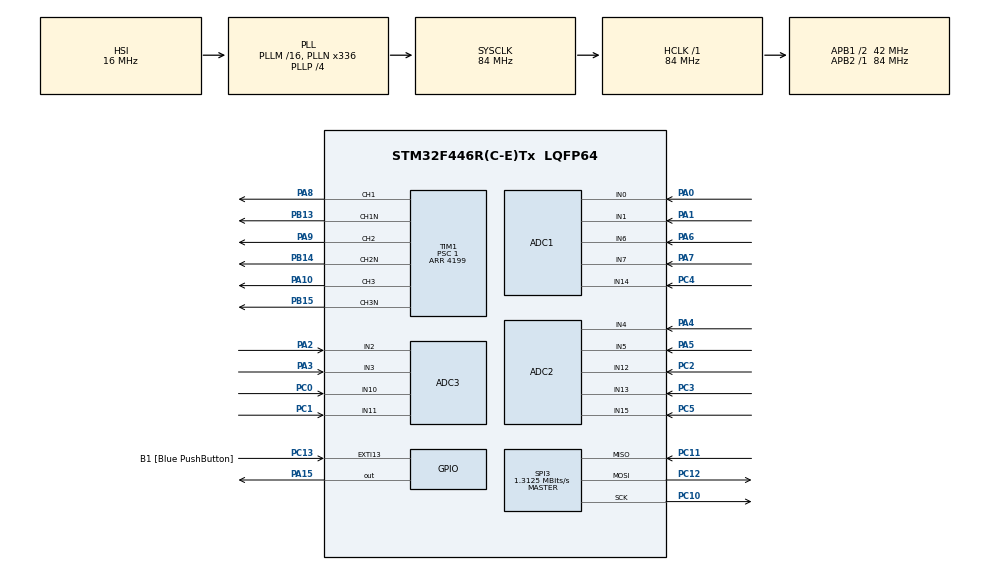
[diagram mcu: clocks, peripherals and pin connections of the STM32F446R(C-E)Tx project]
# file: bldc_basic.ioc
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ADC1.Channel-0\#ChannelRegularConversion=ADC_CHANNEL_0
ADC1.Channel-1\#ChannelRegularConversion=ADC_CHANNEL_1
ADC1.Channel-2\#ChannelRegularConversion=ADC_CHANNEL_6
ADC1.Channel-3\#ChannelRegularConversion=ADC_CHANNEL_7
ADC1.Channel-4\#ChannelRegularConversion=ADC_CHANNEL_14
ADC1.ContinuousConvMode=ENABLE
ADC1.DMAContinuousRequests=ENABLE
ADC1.EOCSelection=ADC_EOC_SEQ_CONV
ADC1.EnableAnalogWatchDog=false
ADC1.ExternalTrigConv=ADC_EXTERNALTRIGCONV_T1_CC1
ADC1.Mode=ADC_TRIPLEMODE_REGSIMULT
ADC1.NbrOfConversion=5
ADC1.NbrOfConversionFlag=1
ADC1.Rank-0\#ChannelRegularConversion=1
ADC1.Rank-1\#ChannelRegularConversion=2
ADC1.Rank-2\#ChannelRegularConversion=3
ADC1.Rank-3\#ChannelRegularConversion=4
ADC1.Rank-4\#ChannelRegularConversion=5
ADC1.SamplingTime-0\#ChannelRegularConversion=ADC_SAMPLETIME_3CYCLES
ADC1.SamplingTime-1\#ChannelRegularConversion=ADC_SAMPLETIME_3CYCLES
ADC1.SamplingTime-2\#ChannelRegularConversion=ADC_SAMPLETIME_3CYCLES
ADC1.SamplingTime-3\#ChannelRegularConversion=ADC_SAMPLETIME_3CYCLES
ADC1.SamplingTime-4\#ChannelRegularConversion=ADC_SAMPLETIME_3CYCLES
ADC1.master=1
ADC2.Channel-3\#ChannelRegularConversion=ADC_CHANNEL_12
ADC2.Channel-4\#ChannelRegularConversion=ADC_CHANNEL_13
ADC2.Channel-5\#ChannelRegularConversion=ADC_CHANNEL_4
ADC2.Channel-6\#ChannelRegularConversion=ADC_CHANNEL_5
ADC2.Channel-7\#ChannelRegularConversion=ADC_CHANNEL_15
ADC2.DMAAccessMode=ADC_DMAACCESSMODE_1
ADC2.EOCSelection=ADC_EOC_SEQ_CONV
ADC2.Mode=ADC_TRIPLEMODE_REGSIMULT
ADC2.NbrOfConversion=5
ADC2.NbrOfConversionFlag=1
ADC2.Rank-3\#ChannelRegularConversion=1
ADC2.Rank-4\#ChannelRegularConversion=2
ADC2.Rank-5\#ChannelRegularConversion=3
ADC2.Rank-6\#ChannelRegularConversion=4
ADC2.Rank-7\#ChannelRegularConversion=5
ADC2.SamplingTime-3\#ChannelRegularConversion=ADC_SAMPLETIME_3CYCLES
ADC2.SamplingTime-4\#ChannelRegularConversion=ADC_SAMPLETIME_3CYCLES
ADC2.SamplingTime-5\#ChannelRegularConversion=ADC_SAMPLETIME_3CYCLES
ADC2.SamplingTime-6\#ChannelRegularConversion=ADC_SAMPLETIME_3CYCLES
ADC2.SamplingTime-7\#ChannelRegularConversion=ADC_SAMPLETIME_3CYCLES
ADC3.Channel-0\#ChannelRegularConversion=ADC_CHANNEL_10
ADC3.Channel-1\#ChannelRegularConversion=ADC_CHANNEL_11
ADC3.Channel-2\#ChannelRegularConversion=ADC_CHANNEL_2
ADC3.Channel-3\#ChannelRegularConversion=ADC_CHANNEL_3
ADC3.Channel-4\#ChannelRegularConversion=ADC_CHANNEL_10
ADC3.EOCSelection=ADC_EOC_SEQ_CONV
ADC3.Mode=ADC_TRIPLEMODE_REGSIMULT
ADC3.NbrOfConversion=5
ADC3.NbrOfConversionFlag=1
ADC3.Rank-0\#ChannelRegularConversion=1
ADC3.Rank-1\#ChannelRegularConversion=2
ADC3.Rank-2\#ChannelRegularConversion=3
ADC3.Rank-3\#ChannelRegularConversion=4
ADC3.Rank-4\#ChannelRegularConversion=5
ADC3.SamplingTime-0\#ChannelRegularConversion=ADC_SAMPLETIME_3CYCLES
ADC3.SamplingTime-1\#ChannelRegularConversion=ADC_SAMPLETIME_3CYCLES
ADC3.SamplingTime-2\#ChannelRegularConversion=ADC_SAMPLETIME_3CYCLES
ADC3.SamplingTime-3\#ChannelRegularConversion=ADC_SAMPLETIME_3CYCLES
ADC3.SamplingTime-4\#ChannelRegularConversion=ADC_SAMPLETIME_3CYCLES
Dma.ADC1.0.Direction=DMA_PERIPH_TO_MEMORY
Dma.ADC1.0.FIFOMode=DMA_FIFOMODE_DISABLE
Dma.ADC1.0.Instance=DMA2_Stream0
Dma.ADC1.0.MemDataAlignment=DMA_MDATAALIGN_WORD
Dma.ADC1.0.MemInc=DMA_MINC_ENABLE
Dma.ADC1.0.Mode=DMA_CIRCULAR
Dma.ADC1.0.PeriphDataAlignment=DMA_PDATAALIGN_WORD
Dma.ADC1.0.PeriphInc=DMA_PINC_DISABLE
Dma.ADC1.0.Priority=DMA_PRIORITY_LOW
Dma.Request0=ADC1
Mcu.Family=STM32F4
Mcu.Name=STM32F446R(C-E)Tx
Mcu.Package=LQFP64
NVIC.DMA2_Stream0_IRQn=true\:0\:0\:false\:false\:true\:false\:true\:true
NVIC.PriorityGroup=NVIC_PRIORITYGROUP_0
PA0-WKUP.Signal=ADCx_IN0
PA1.Signal=ADCx_IN1
PA10.Signal=S_TIM1_CH3
PA13.GPIO_Label=TMS
PA13.Mode=Serial_Wire
PA13.Signal=SYS_JTMS-SWDIO
PA14.GPIO_Label=TCK
PA14.Mode=Serial_Wire
PA14.Signal=SYS_JTCK-SWCLK
PA15.Signal=GPIO_Output
PA2.Signal=ADCx_IN2
PA3.Signal=ADCx_IN3
PA4.Signal=ADCx_IN4
PA5.Signal=ADCx_IN5
PA6.Signal=ADCx_IN6
PA7.Signal=ADCx_IN7
PA8.Signal=S_TIM1_CH1
PA9.Signal=S_TIM1_CH2
PB13.Mode=PWM Generation1 CH1 CH1N
PB13.Signal=TIM1_CH1N
PB14.Mode=PWM Generation2 CH2 CH2N
PB14.Signal=TIM1_CH2N
PB15.Mode=PWM Generation3 CH3 CH3N
PB15.Signal=TIM1_CH3N
PB3.GPIO_Label=SWO
PB3.Signal=SYS_JTDO-SWO
PC0.Signal=ADCx_IN10
PC1.Signal=ADCx_IN11
PC10.Mode=Full_Duplex_Master
PC10.Signal=SPI3_SCK
PC11.Mode=Full_Duplex_Master
PC11.Signal=SPI3_MISO
PC12.Mode=Full_Duplex_Master
PC12.Signal=SPI3_MOSI
PC13.GPIO_Label=B1 [Blue PushButton]
PC13.GPIO_ModeDefaultEXTI=GPIO_MODE_IT_FALLING
PC13.Signal=GPXTI13
PC14-OSC32_IN.Mode=LSE-External-Oscillator
PC14-OSC32_IN.Signal=RCC_OSC32_IN
PC15-OSC32_OUT.Mode=LSE-External-Oscillator
PC15-OSC32_OUT.Signal=RCC_OSC32_OUT
PC2.Signal=ADCx_IN12
PC3.Signal=ADCx_IN13
PC4.Signal=ADCx_IN14
PC5.Signal=ADCx_IN15
PH0-OSC_IN.Mode=HSE-External-Oscillator
PH0-OSC_IN.Signal=RCC_OSC_IN
PH1-OSC_OUT.Mode=HSE-External-Oscillator
PH1-OSC_OUT.Signal=RCC_OSC_OUT
ProjectManager.HeapSize=0x200
ProjectManager.StackSize=0x400
ProjectManager.TargetToolchain=STM32CubeIDE
RCC.48MHZClocksFreq_Value=84000000
RCC.AHBFreq_Value=84000000
RCC.APB1CLKDivider=RCC_HCLK_DIV2
RCC.APB1Freq_Value=42000000
RCC.APB1TimFreq_Value=84000000
RCC.APB2Freq_Value=84000000
RCC.APB2TimFreq_Value=84000000
RCC.CortexFreq_Value=84000000
RCC.FLatency-AdvancedSettings=FLASH_LATENCY_2
RCC.HCLKFreq_Value=84000000
RCC.HSE_VALUE=8000000
RCC.HSI_VALUE=16000000
RCC.PLLN=336
RCC.PLLP=RCC_PLLP_DIV4
RCC.SYSCLKFreq_VALUE=84000000
RCC.SYSCLKSource=RCC_SYSCLKSOURCE_PLLCLK
RCC.USBFreq_Value=168000000
RCC.VCOOutputFreq_Value=336000000
SH.ADCx_IN0.0=ADC1_IN0,IN0
SH.ADCx_IN1.0=ADC1_IN1,IN1
SH.ADCx_IN10.0=ADC3_IN10,IN10
SH.ADCx_IN11.0=ADC3_IN11,IN11
SH.ADCx_IN12.0=ADC2_IN12,IN12
SH.ADCx_IN13.0=ADC2_IN13,IN13
SH.ADCx_IN14.0=ADC1_IN14,IN14
SH.ADCx_IN15.0=ADC2_IN15,IN15
SH.ADCx_IN2.0=ADC3_IN2,IN2
SH.ADCx_IN3.0=ADC3_IN3,IN3
SH.ADCx_IN4.0=ADC2_IN4,IN4
SH.ADCx_IN5.0=ADC2_IN5,IN5
SH.ADCx_IN6.0=ADC1_IN6,IN6
SH.ADCx_IN7.0=ADC1_IN7,IN7
SH.S_TIM1_CH1.0=TIM1_CH1,PWM Generation1 CH1 CH1N
SH.S_TIM1_CH2.0=TIM1_CH2,PWM Generation2 CH2 CH2N
SH.S_TIM1_CH3.0=TIM1_CH3,PWM Generation3 CH3 CH3N
SPI3.BaudRatePrescaler=SPI_BAUDRATEPRESCALER_32
SPI3.CalculateBaudRate=1.3125 MBits/s
SPI3.DataSize=SPI_DATASIZE_16BIT
SPI3.Direction=SPI_DIRECTION_2LINES
SPI3.Mode=SPI_MODE_MASTER
SPI3.VirtualType=VM_MASTER
TIM1.AutoReloadPreload=TIM_AUTORELOAD_PRELOAD_ENABLE
TIM1.AutomaticOutput=TIM_AUTOMATICOUTPUT_DISABLE
TIM1.Channel-PWM\ Generation1\ CH1\ CH1N=TIM_CHANNEL_1
TIM1.Channel-PWM\ Generation2\ CH2\ CH2N=TIM_CHANNEL_2
TIM1.Channel-PWM\ Generation3\ CH3\ CH3N=TIM_CHANNEL_3
TIM1.CounterMode=TIM_COUNTERMODE_CENTERALIGNED1
TIM1.DeadTime=10
TIM1.OCNPolarity_1=TIM_OCNPOLARITY_HIGH
TIM1.OCNPolarity_2=TIM_OCNPOLARITY_HIGH
TIM1.OCNPolarity_3=TIM_OCNPOLARITY_HIGH
TIM1.Period=4199
TIM1.Prescaler=1
TIM1.Pulse-PWM\ Generation1\ CH1\ CH1N=2100
TIM1.Pulse-PWM\ Generation2\ CH2\ CH2N=3150
TIM1.Pulse-PWM\ Generation3\ CH3\ CH3N=4100
TIM1.TIM_MasterOutputTrigger=TIM_TRGO_UPDATE
TIM1.TIM_MasterSlaveMode=TIM_MASTERSLAVEMODE_ENABLE
VP_TIM1_VS_ClockSourceINT.Mode=Internal
board=NUCLEO-F446RE

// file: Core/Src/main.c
/* USER CODE BEGIN Header */
/**
  ******************************************************************************
  * @file           : main.c
  * @brief          : Main program body
  ******************************************************************************
  * @attention
  *
  * Copyright (c) 2026 STMicroelectronics.
  * All rights reserved.
  *
  * This software is licensed under terms that can be found in the LICENSE file
  * in the root directory of this software component.
  * If no LICENSE file comes with this software, it is provided AS-IS.
  *
  ******************************************************************************
  */
/* USER CODE END Header */
#include "main.h"

/* USER CODE BEGIN Includes */
#include <stdio.h>
#include <math.h>
/* USER CODE END Includes */

/* USER CODE BEGIN PD */
#define PUTCHAR_PROTOTYPE int __io_putchar(int ch)
/* USER CODE END PD */

ADC_HandleTypeDef hadc1;
ADC_HandleTypeDef hadc2;
ADC_HandleTypeDef hadc3;
DMA_HandleTypeDef hdma_adc1;

SPI_HandleTypeDef hspi3;

TIM_HandleTypeDef htim1;

/* USER CODE BEGIN PV */
uint32_t adc_dma_buf[15];

uint16_t angle;

int i = 0;
int t = 0;

float pi = 3.14159265;
float ampl = 0;
float drive_freq = 0;
float dutyA = 0.5;
float dutyB = 0.5;
float dutyC = 0.5;
/* USER CODE END PV */

void SystemClock_Config(void);
static void MX_GPIO_Init(void);
static void MX_DMA_Init(void);
static void MX_ADC1_Init(void);
static void MX_ADC2_Init(void);
static void MX_ADC3_Init(void);
static void MX_TIM1_Init(void);
static void MX_SPI3_Init(void);

int main(void)
{

  /* MCU Configuration--------------------------------------------------------*/

  /* Reset of all peripherals, Initializes the Flash interface and the Systick. */
  HAL_Init();

  /* Configure the system clock */
  SystemClock_Config();

  /* Initialize all configured peripherals */
  MX_GPIO_Init();
  MX_DMA_Init();
  MX_ADC1_Init();
  MX_ADC2_Init();
  MX_ADC3_Init();
  MX_TIM1_Init();
  MX_SPI3_Init();
  /* USER CODE BEGIN 2 */
  HAL_TIM_PWM_Start(&htim1, TIM_CHANNEL_1);
  HAL_TIMEx_PWMN_Start(&htim1, TIM_CHANNEL_1);
  HAL_TIM_PWM_Start(&htim1, TIM_CHANNEL_2);
  HAL_TIMEx_PWMN_Start(&htim1, TIM_CHANNEL_2);
  HAL_TIM_PWM_Start(&htim1, TIM_CHANNEL_3);
  HAL_TIMEx_PWMN_Start(&htim1, TIM_CHANNEL_3);

  HAL_ADC_Start(&hadc2);
  HAL_ADC_Start(&hadc3);

  i = 1;
  HAL_ADCEx_MultiModeStart_DMA(&hadc1, adc_dma_buf, 15);
  i = 2;
  int pwm_period = TIM1->ARR;

  const uint16_t encoder_reg = 0x3FFF;

  /* USER CODE END 2 */

  /* Infinite loop */
  /* USER CODE BEGIN WHILE */
  while (1)
  {
	i++;
	t = HAL_GetTick();

	// control amplitude with pot
	ampl = 0.5 * ((float) adc_dma_buf[12] - 210) / 4095.0;
	drive_freq = 50;

	dutyA = 0.5 + ampl*cosf(drive_freq*t*0.01 - 0*pi/3.0);
	dutyB = 0.5 + ampl*cosf(drive_freq*t*0.01 - 1*pi/3.0);
	dutyC = 0.5 + ampl*cosf(drive_freq*t*0.01 - 2*pi/3.0);

    TIM1->CCR1 = (int) (pwm_period * dutyA);
    TIM1->CCR2 = (int) (pwm_period * dutyB);
    TIM1->CCR3 = (int) (pwm_period * dutyC);

	HAL_Delay(10);
    /* USER CODE END WHILE */

  }
}

void SystemClock_Config(void)
{
  RCC_OscInitTypeDef RCC_OscInitStruct = {0};
  RCC_ClkInitTypeDef RCC_ClkInitStruct = {0};

  /** Configure the main internal regulator output voltage
  */
  __HAL_RCC_PWR_CLK_ENABLE();
  __HAL_PWR_VOLTAGESCALING_CONFIG(PWR_REGULATOR_VOLTAGE_SCALE3);

  /** Initializes the RCC Oscillators according to the specified parameters
  * in the RCC_OscInitTypeDef structure.
  */
  RCC_OscInitStruct.OscillatorType = RCC_OSCILLATORTYPE_HSI;
  RCC_OscInitStruct.HSIState = RCC_HSI_ON;
  RCC_OscInitStruct.HSICalibrationValue = RCC_HSICALIBRATION_DEFAULT;
  RCC_OscInitStruct.PLL.PLLState = RCC_PLL_ON;
  RCC_OscInitStruct.PLL.PLLSource = RCC_PLLSOURCE_HSI;
  RCC_OscInitStruct.PLL.PLLM = 16;
  RCC_OscInitStruct.PLL.PLLN = 336;
  RCC_OscInitStruct.PLL.PLLP = RCC_PLLP_DIV4;
  RCC_OscInitStruct.PLL.PLLQ = 2;
  RCC_OscInitStruct.PLL.PLLR = 2;
  if (HAL_RCC_OscConfig(&RCC_OscInitStruct) != HAL_OK)
  {
    Error_Handler();
  }

  /** Initializes the CPU, AHB and APB buses clocks
  */
  RCC_ClkInitStruct.ClockType = RCC_CLOCKTYPE_HCLK|RCC_CLOCKTYPE_SYSCLK
                              |RCC_CLOCKTYPE_PCLK1|RCC_CLOCKTYPE_PCLK2;
  RCC_ClkInitStruct.SYSCLKSource = RCC_SYSCLKSOURCE_PLLCLK;
  RCC_ClkInitStruct.AHBCLKDivider = RCC_SYSCLK_DIV1;
  RCC_ClkInitStruct.APB1CLKDivider = RCC_HCLK_DIV2;
  RCC_ClkInitStruct.APB2CLKDivider = RCC_HCLK_DIV1;

  if (HAL_RCC_ClockConfig(&RCC_ClkInitStruct, FLASH_LATENCY_2) != HAL_OK)
  {
    Error_Handler();
  }
}

static void MX_ADC1_Init(void)
{

  ADC_MultiModeTypeDef multimode = {0};
  ADC_ChannelConfTypeDef sConfig = {0};

  /** Configure the global features of the ADC (Clock, Resolution, Data Alignment and number of conversion)
  */
  hadc1.Instance = ADC1;
  hadc1.Init.ClockPrescaler = ADC_CLOCK_SYNC_PCLK_DIV4;
  hadc1.Init.Resolution = ADC_RESOLUTION_12B;
  hadc1.Init.ScanConvMode = ENABLE;
  hadc1.Init.ContinuousConvMode = ENABLE;
  hadc1.Init.DiscontinuousConvMode = DISABLE;
  hadc1.Init.ExternalTrigConvEdge = ADC_EXTERNALTRIGCONVEDGE_RISING;
  hadc1.Init.ExternalTrigConv = ADC_EXTERNALTRIGCONV_T1_CC1;
  hadc1.Init.DataAlign = ADC_DATAALIGN_RIGHT;
  hadc1.Init.NbrOfConversion = 5;
  hadc1.Init.DMAContinuousRequests = ENABLE;
  hadc1.Init.EOCSelection = ADC_EOC_SEQ_CONV;
  if (HAL_ADC_Init(&hadc1) != HAL_OK)
  {
    Error_Handler();
  }

  /** Configure the ADC multi-mode
  */
  multimode.Mode = ADC_TRIPLEMODE_REGSIMULT;
  multimode.DMAAccessMode = ADC_DMAACCESSMODE_1;
  multimode.TwoSamplingDelay = ADC_TWOSAMPLINGDELAY_5CYCLES;
  if (HAL_ADCEx_MultiModeConfigChannel(&hadc1, &multimode) != HAL_OK)
  {
    Error_Handler();
  }

  /** Configure for the selected ADC regular channel its corresponding rank in the sequencer and its sample time.
  */
  sConfig.Channel = ADC_CHANNEL_0;
  sConfig.Rank = 1;
  sConfig.SamplingTime = ADC_SAMPLETIME_3CYCLES;
  if (HAL_ADC_ConfigChannel(&hadc1, &sConfig) != HAL_OK)
  {
    Error_Handler();
  }

  /** Configure for the selected ADC regular channel its corresponding rank in the sequencer and its sample time.
  */
  sConfig.Channel = ADC_CHANNEL_1;
  sConfig.Rank = 2;
  if (HAL_ADC_ConfigChannel(&hadc1, &sConfig) != HAL_OK)
  {
    Error_Handler();
  }

  /** Configure for the selected ADC regular channel its corresponding rank in the sequencer and its sample time.
  */
  sConfig.Channel = ADC_CHANNEL_6;
  sConfig.Rank = 3;
  if (HAL_ADC_ConfigChannel(&hadc1, &sConfig) != HAL_OK)
  {
    Error_Handler();
  }

  /** Configure for the selected ADC regular channel its corresponding rank in the sequencer and its sample time.
  */
  sConfig.Channel = ADC_CHANNEL_7;
  sConfig.Rank = 4;
  if (HAL_ADC_ConfigChannel(&hadc1, &sConfig) != HAL_OK)
  {
    Error_Handler();
  }

  /** Configure for the selected ADC regular channel its corresponding rank in the sequencer and its sample time.
  */
  sConfig.Channel = ADC_CHANNEL_14;
  sConfig.Rank = 5;
  if (HAL_ADC_ConfigChannel(&hadc1, &sConfig) != HAL_OK)
  {
    Error_Handler();
  }

}

static void MX_ADC2_Init(void)
{

  ADC_ChannelConfTypeDef sConfig = {0};

  /** Configure the global features of the ADC (Clock, Resolution, Data Alignment and number of conversion)
  */
  hadc2.Instance = ADC2;
  hadc2.Init.ClockPrescaler = ADC_CLOCK_SYNC_PCLK_DIV4;
  hadc2.Init.Resolution = ADC_RESOLUTION_12B;
  hadc2.Init.ScanConvMode = ENABLE;
  hadc2.Init.ContinuousConvMode = ENABLE;
  hadc2.Init.DiscontinuousConvMode = DISABLE;
  hadc2.Init.DataAlign = ADC_DATAALIGN_RIGHT;
  hadc2.Init.NbrOfConversion = 5;
  hadc2.Init.DMAContinuousRequests = DISABLE;
  hadc2.Init.EOCSelection = ADC_EOC_SEQ_CONV;
  if (HAL_ADC_Init(&hadc2) != HAL_OK)
  {
    Error_Handler();
  }

  /** Configure for the selected ADC regular channel its corresponding rank in the sequencer and its sample time.
  */
  sConfig.Channel = ADC_CHANNEL_12;
  sConfig.Rank = 1;
  sConfig.SamplingTime = ADC_SAMPLETIME_3CYCLES;
  if (HAL_ADC_ConfigChannel(&hadc2, &sConfig) != HAL_OK)
  {
    Error_Handler();
  }

  /** Configure for the selected ADC regular channel its corresponding rank in the sequencer and its sample time.
  */
  sConfig.Channel = ADC_CHANNEL_13;
  sConfig.Rank = 2;
  if (HAL_ADC_ConfigChannel(&hadc2, &sConfig) != HAL_OK)
  {
    Error_Handler();
  }

  /** Configure for the selected ADC regular channel its corresponding rank in the sequencer and its sample time.
  */
  sConfig.Channel = ADC_CHANNEL_4;
  sConfig.Rank = 3;
  if (HAL_ADC_ConfigChannel(&hadc2, &sConfig) != HAL_OK)
  {
    Error_Handler();
  }

  /** Configure for the selected ADC regular channel its corresponding rank in the sequencer and its sample time.
  */
  sConfig.Channel = ADC_CHANNEL_5;
  sConfig.Rank = 4;
  if (HAL_ADC_ConfigChannel(&hadc2, &sConfig) != HAL_OK)
  {
    Error_Handler();
  }

  /** Configure for the selected ADC regular channel its corresponding rank in the sequencer and its sample time.
  */
  sConfig.Channel = ADC_CHANNEL_15;
  sConfig.Rank = 5;
  if (HAL_ADC_ConfigChannel(&hadc2, &sConfig) != HAL_OK)
  {
    Error_Handler();
  }

}

static void MX_ADC3_Init(void)
{

  ADC_ChannelConfTypeDef sConfig = {0};

  /** Configure the global features of the ADC (Clock, Resolution, Data Alignment and number of conversion)
  */
  hadc3.Instance = ADC3;
  hadc3.Init.ClockPrescaler = ADC_CLOCK_SYNC_PCLK_DIV4;
  hadc3.Init.Resolution = ADC_RESOLUTION_12B;
  hadc3.Init.ScanConvMode = ENABLE;
  hadc3.Init.ContinuousConvMode = ENABLE;
  hadc3.Init.DiscontinuousConvMode = DISABLE;
  hadc3.Init.DataAlign = ADC_DATAALIGN_RIGHT;
  hadc3.Init.NbrOfConversion = 5;
  hadc3.Init.DMAContinuousRequests = DISABLE;
  hadc3.Init.EOCSelection = ADC_EOC_SEQ_CONV;
  if (HAL_ADC_Init(&hadc3) != HAL_OK)
  {
    Error_Handler();
  }

  /** Configure for the selected ADC regular channel its corresponding rank in the sequencer and its sample time.
  */
  sConfig.Channel = ADC_CHANNEL_10;
  sConfig.Rank = 1;
  sConfig.SamplingTime = ADC_SAMPLETIME_3CYCLES;
  if (HAL_ADC_ConfigChannel(&hadc3, &sConfig) != HAL_OK)
  {
    Error_Handler();
  }

  /** Configure for the selected ADC regular channel its corresponding rank in the sequencer and its sample time.
  */
  sConfig.Channel = ADC_CHANNEL_11;
  sConfig.Rank = 2;
  if (HAL_ADC_ConfigChannel(&hadc3, &sConfig) != HAL_OK)
  {
    Error_Handler();
  }

  /** Configure for the selected ADC regular channel its corresponding rank in the sequencer and its sample time.
  */
  sConfig.Channel = ADC_CHANNEL_2;
  sConfig.Rank = 3;
  if (HAL_ADC_ConfigChannel(&hadc3, &sConfig) != HAL_OK)
  {
    Error_Handler();
  }

  /** Configure for the selected ADC regular channel its corresponding rank in the sequencer and its sample time.
  */
  sConfig.Channel = ADC_CHANNEL_3;
  sConfig.Rank = 4;
  if (HAL_ADC_ConfigChannel(&hadc3, &sConfig) != HAL_OK)
  {
    Error_Handler();
  }

  /** Configure for the selected ADC regular channel its corresponding rank in the sequencer and its sample time.
  */
  sConfig.Channel = ADC_CHANNEL_10;
  sConfig.Rank = 5;
  if (HAL_ADC_ConfigChannel(&hadc3, &sConfig) != HAL_OK)
  {
    Error_Handler();
  }

}

static void MX_SPI3_Init(void)
{

  /* SPI3 parameter configuration*/
  hspi3.Instance = SPI3;
  hspi3.Init.Mode = SPI_MODE_MASTER;
  hspi3.Init.Direction = SPI_DIRECTION_2LINES;
  hspi3.Init.DataSize = SPI_DATASIZE_16BIT;
  hspi3.Init.CLKPolarity = SPI_POLARITY_LOW;
  hspi3.Init.CLKPhase = SPI_PHASE_1EDGE;
  hspi3.Init.NSS = SPI_NSS_SOFT;
  hspi3.Init.BaudRatePrescaler = SPI_BAUDRATEPRESCALER_32;
  hspi3.Init.FirstBit = SPI_FIRSTBIT_MSB;
  hspi3.Init.TIMode = SPI_TIMODE_DISABLE;
  hspi3.Init.CRCCalculation = SPI_CRCCALCULATION_DISABLE;
  hspi3.Init.CRCPolynomial = 10;
  if (HAL_SPI_Init(&hspi3) != HAL_OK)
  {
    Error_Handler();
  }

}

static void MX_TIM1_Init(void)
{

  TIM_ClockConfigTypeDef sClockSourceConfig = {0};
  TIM_MasterConfigTypeDef sMasterConfig = {0};
  TIM_OC_InitTypeDef sConfigOC = {0};
  TIM_BreakDeadTimeConfigTypeDef sBreakDeadTimeConfig = {0};

  htim1.Instance = TIM1;
  htim1.Init.Prescaler = 1;
  htim1.Init.CounterMode = TIM_COUNTERMODE_CENTERALIGNED1;
  htim1.Init.Period = 4199;
  htim1.Init.ClockDivision = TIM_CLOCKDIVISION_DIV1;
  htim1.Init.RepetitionCounter = 0;
  htim1.Init.AutoReloadPreload = TIM_AUTORELOAD_PRELOAD_ENABLE;
  if (HAL_TIM_Base_Init(&htim1) != HAL_OK)
  {
    Error_Handler();
  }
  sClockSourceConfig.ClockSource = TIM_CLOCKSOURCE_INTERNAL;
  if (HAL_TIM_ConfigClockSource(&htim1, &sClockSourceConfig) != HAL_OK)
  {
    Error_Handler();
  }
  if (HAL_TIM_PWM_Init(&htim1) != HAL_OK)
  {
    Error_Handler();
  }
  sMasterConfig.MasterOutputTrigger = TIM_TRGO_UPDATE;
  sMasterConfig.MasterSlaveMode = TIM_MASTERSLAVEMODE_ENABLE;
  if (HAL_TIMEx_MasterConfigSynchronization(&htim1, &sMasterConfig) != HAL_OK)
  {
    Error_Handler();
  }
  sConfigOC.OCMode = TIM_OCMODE_PWM1;
  sConfigOC.Pulse = 2100;
  sConfigOC.OCPolarity = TIM_OCPOLARITY_HIGH;
  sConfigOC.OCNPolarity = TIM_OCNPOLARITY_HIGH;
  sConfigOC.OCFastMode = TIM_OCFAST_DISABLE;
  sConfigOC.OCIdleState = TIM_OCIDLESTATE_RESET;
  sConfigOC.OCNIdleState = TIM_OCNIDLESTATE_RESET;
  if (HAL_TIM_PWM_ConfigChannel(&htim1, &sConfigOC, TIM_CHANNEL_1) != HAL_OK)
  {
    Error_Handler();
  }
  sConfigOC.Pulse = 3150;
  if (HAL_TIM_PWM_ConfigChannel(&htim1, &sConfigOC, TIM_CHANNEL_2) != HAL_OK)
  {
    Error_Handler();
  }
  sConfigOC.Pulse = 4100;
  if (HAL_TIM_PWM_ConfigChannel(&htim1, &sConfigOC, TIM_CHANNEL_3) != HAL_OK)
  {
    Error_Handler();
  }
  sBreakDeadTimeConfig.OffStateRunMode = TIM_OSSR_DISABLE;
  sBreakDeadTimeConfig.OffStateIDLEMode = TIM_OSSI_DISABLE;
  sBreakDeadTimeConfig.LockLevel = TIM_LOCKLEVEL_OFF;
  sBreakDeadTimeConfig.DeadTime = 10;
  sBreakDeadTimeConfig.BreakState = TIM_BREAK_DISABLE;
  sBreakDeadTimeConfig.BreakPolarity = TIM_BREAKPOLARITY_HIGH;
  sBreakDeadTimeConfig.AutomaticOutput = TIM_AUTOMATICOUTPUT_DISABLE;
  if (HAL_TIMEx_ConfigBreakDeadTime(&htim1, &sBreakDeadTimeConfig) != HAL_OK)
  {
    Error_Handler();
  }
  HAL_TIM_MspPostInit(&htim1);

}

static void MX_DMA_Init(void)
{

  /* DMA controller clock enable */
  __HAL_RCC_DMA2_CLK_ENABLE();

  /* DMA interrupt init */
  /* DMA2_Stream0_IRQn interrupt configuration */
  HAL_NVIC_SetPriority(DMA2_Stream0_IRQn, 0, 0);
//  HAL_NVIC_EnableIRQ(DMA2_Stream0_IRQn);

}

static void MX_GPIO_Init(void)
{
  GPIO_InitTypeDef GPIO_InitStruct = {0};

  /* GPIO Ports Clock Enable */
  __HAL_RCC_GPIOC_CLK_ENABLE();
  __HAL_RCC_GPIOH_CLK_ENABLE();
  __HAL_RCC_GPIOA_CLK_ENABLE();
  __HAL_RCC_GPIOB_CLK_ENABLE();

  /*Configure GPIO pin Output Level */
  HAL_GPIO_WritePin(GPIOA, GPIO_PIN_15, GPIO_PIN_RESET);

  /*Configure GPIO pin : B1_Pin */
  GPIO_InitStruct.Pin = B1_Pin;
  GPIO_InitStruct.Mode = GPIO_MODE_IT_FALLING;
  GPIO_InitStruct.Pull = GPIO_NOPULL;
  HAL_GPIO_Init(B1_GPIO_Port, &GPIO_InitStruct);

  /*Configure GPIO pin : PA15 */
  GPIO_InitStruct.Pin = GPIO_PIN_15;
  GPIO_InitStruct.Mode = GPIO_MODE_OUTPUT_PP;
  GPIO_InitStruct.Pull = GPIO_NOPULL;
  GPIO_InitStruct.Speed = GPIO_SPEED_FREQ_LOW;
  HAL_GPIO_Init(GPIOA, &GPIO_InitStruct);

}

void Error_Handler(void)
{
  __disable_irq();
  while (1)
  {
  }
}
